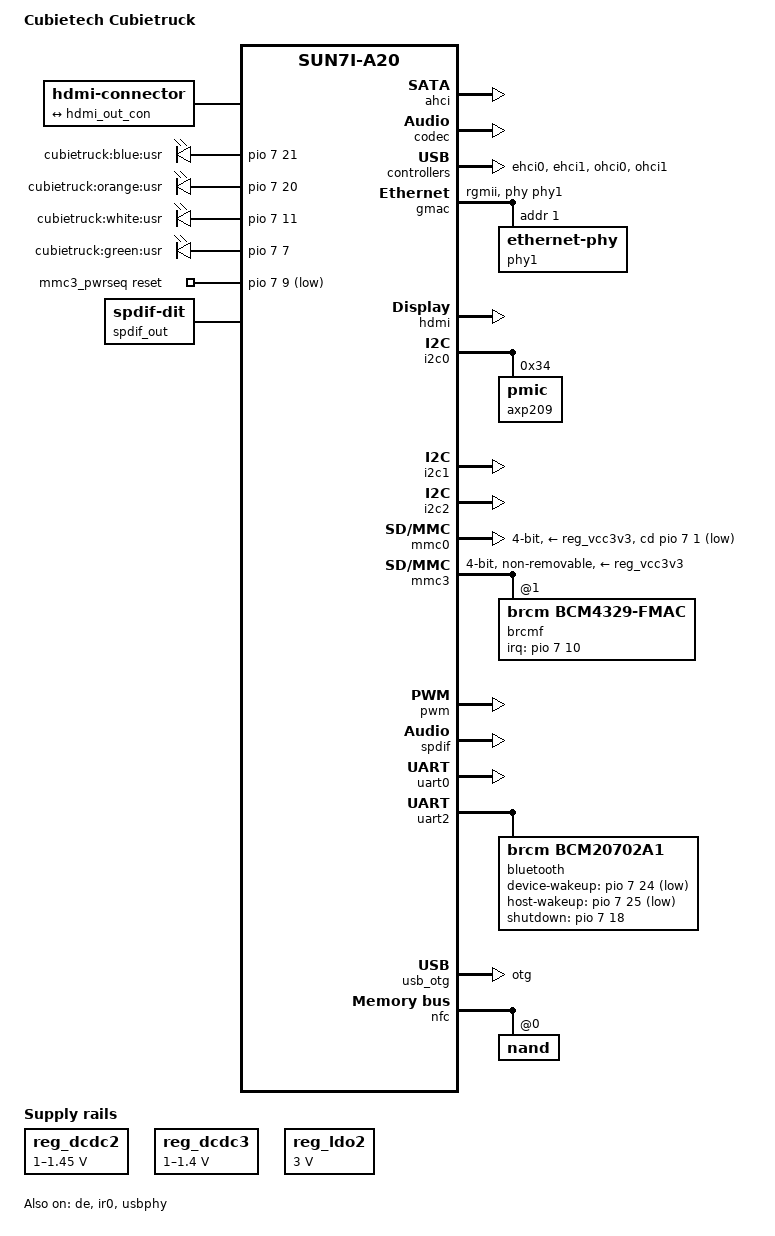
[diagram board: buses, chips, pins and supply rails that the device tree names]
/*
 * Copyright 2013 Oliver Schinagl
 *
 * Oliver Schinagl <oliver@schinagl.nl>
 *
 * This file is dual-licensed: you can use it either under the terms
 * of the GPL or the X11 license, at your option. Note that this dual
 * licensing only applies to this file, and not this project as a
 * whole.
 *
 *  a) This file is free software; you can redistribute it and/or
 *     modify it under the terms of the GNU General Public License as
 *     published by the Free Software Foundation; either version 2 of the
 *     License, or (at your option) any later version.
 *
 *     This file is distributed in the hope that it will be useful,
 *     but WITHOUT ANY WARRANTY; without even the implied warranty of
 *     MERCHANTABILITY or FITNESS FOR A PARTICULAR PURPOSE.  See the
 *     GNU General Public License for more details.
 *
 * Or, alternatively,
 *
 *  b) Permission is hereby granted, free of charge, to any person
 *     obtaining a copy of this software and associated documentation
 *     files (the "Software"), to deal in the Software without
 *     restriction, including without limitation the rights to use,
 *     copy, modify, merge, publish, distribute, sublicense, and/or
 *     sell copies of the Software, and to permit persons to whom the
 *     Software is furnished to do so, subject to the following
 *     conditions:
 *
 *     The above copyright notice and this permission notice shall be
 *     included in all copies or substantial portions of the Software.
 *
 *     THE SOFTWARE IS PROVIDED "AS IS", WITHOUT WARRANTY OF ANY KIND,
 *     EXPRESS OR IMPLIED, INCLUDING BUT NOT LIMITED TO THE WARRANTIES
 *     OF MERCHANTABILITY, FITNESS FOR A PARTICULAR PURPOSE AND
 *     NONINFRINGEMENT. IN NO EVENT SHALL THE AUTHORS OR COPYRIGHT
 *     HOLDERS BE LIABLE FOR ANY CLAIM, DAMAGES OR OTHER LIABILITY,
 *     WHETHER IN AN ACTION OF CONTRACT, TORT OR OTHERWISE, ARISING
 *     FROM, OUT OF OR IN CONNECTION WITH THE SOFTWARE OR THE USE OR
 *     OTHER DEALINGS IN THE SOFTWARE.
 */

/dts-v1/;
#include "sun7i-a20.dtsi"
#include "sunxi-common-regulators.dtsi"

#include <dt-bindings/gpio/gpio.h>
#include <dt-bindings/interrupt-controller/irq.h>

/ {
	model = "Cubietech Cubietruck";
	compatible = "cubietech,cubietruck", "allwinner,sun7i-a20";

	aliases {
		serial0 = &uart0;
	};

	chosen {
		stdout-path = "serial0:115200n8";
	};

	hdmi-connector {
		compatible = "hdmi-connector";
		type = "a";

		port {
			hdmi_con_in: endpoint {
				remote-endpoint = <&hdmi_out_con>;
			};
		};
	};

	leds {
		compatible = "gpio-leds";

		blue {
			label = "cubietruck:blue:usr";
			gpios = <&pio 7 21 GPIO_ACTIVE_HIGH>;
		};

		orange {
			label = "cubietruck:orange:usr";
			gpios = <&pio 7 20 GPIO_ACTIVE_HIGH>;
		};

		white {
			label = "cubietruck:white:usr";
			gpios = <&pio 7 11 GPIO_ACTIVE_HIGH>;
		};

		green {
			label = "cubietruck:green:usr";
			gpios = <&pio 7 7 GPIO_ACTIVE_HIGH>;
		};
	};

	mmc3_pwrseq: mmc3_pwrseq {
		compatible = "mmc-pwrseq-simple";
		reset-gpios = <&pio 7 9 GPIO_ACTIVE_LOW>; /* PH9 WIFI_EN */
		clocks = <&ccu CLK_OUT_A>;
		clock-names = "ext_clock";
	};

	sound {
		compatible = "simple-audio-card";
		simple-audio-card,name = "On-board SPDIF";

		simple-audio-card,cpu {
			sound-dai = <&spdif>;
		};

		simple-audio-card,codec {
			sound-dai = <&spdif_out>;
		};
	};

	spdif_out: spdif-out {
		#sound-dai-cells = <0>;
		compatible = "linux,spdif-dit";
	};
};

&ahci {
	target-supply = <&reg_ahci_5v>;
	status = "okay";
};

&codec {
	status = "okay";
};

&cpu0 {
	cpu-supply = <&reg_dcdc2>;
};

&de {
	status = "okay";
};

&ehci0 {
	status = "okay";
};

&ehci1 {
	status = "okay";
};

&gmac {
	pinctrl-names = "default";
	pinctrl-0 = <&gmac_rgmii_pins>;
	phy = <&phy1>;
	phy-mode = "rgmii";
	status = "okay";

	phy1: ethernet-phy@1 {
		reg = <1>;
	};
};

&hdmi {
	status = "okay";
};

&hdmi_out {
	hdmi_out_con: endpoint {
		remote-endpoint = <&hdmi_con_in>;
	};
};

&i2c0 {
	status = "okay";

	axp209: pmic@34 {
		reg = <0x34>;
		interrupt-parent = <&nmi_intc>;
		interrupts = <0 IRQ_TYPE_LEVEL_LOW>;
	};
};

&i2c1 {
	pinctrl-names = "default";
	status = "okay";
};

&i2c2 {
	status = "okay";
};

&ir0 {
	pinctrl-names = "default";
	pinctrl-0 = <&ir0_rx_pin>;
	status = "okay";
};

&mmc0 {
	vmmc-supply = <&reg_vcc3v3>;
	bus-width = <4>;
	cd-gpios = <&pio 7 1 GPIO_ACTIVE_LOW>; /* PH1 */
	status = "okay";
};

&mmc3 {
	vmmc-supply = <&reg_vcc3v3>;
	mmc-pwrseq = <&mmc3_pwrseq>;
	bus-width = <4>;
	non-removable;
	status = "okay";

	brcmf: wifi@1 {
		reg = <1>;
		compatible = "brcm,bcm4329-fmac";
		interrupt-parent = <&pio>;
		interrupts = <7 10 IRQ_TYPE_LEVEL_LOW>; /* PH10 / EINT10 */
		interrupt-names = "host-wake";
	};
};

&ohci0 {
	status = "okay";
};

&ohci1 {
	status = "okay";
};

&otg_sram {
	status = "okay";
};

&pio {
	/* Pin outputs low power clock for WiFi and BT */
	pinctrl-0 = <&clk_out_a_pin>;
	pinctrl-names = "default";
};

&pwm {
	pinctrl-names = "default";
	pinctrl-0 = <&pwm0_pin>, <&pwm1_pin>;
	status = "okay";
};

&reg_ahci_5v {
	gpio = <&pio 7 12 GPIO_ACTIVE_HIGH>;
	status = "okay";
};

#include "axp209.dtsi"

&ac_power_supply {
	status = "okay";
};

&battery_power_supply {
	status = "okay";
};

&reg_dcdc2 {
	regulator-always-on;
	regulator-min-microvolt = <1000000>;
	regulator-max-microvolt = <1450000>;
	regulator-name = "vdd-cpu";
};

&reg_dcdc3 {
	regulator-always-on;
	regulator-min-microvolt = <1000000>;
	regulator-max-microvolt = <1400000>;
	regulator-name = "vdd-int-dll";
};

&reg_ldo1 {
	regulator-name = "vdd-rtc";
};

&reg_ldo2 {
	regulator-always-on;
	regulator-min-microvolt = <3000000>;
	regulator-max-microvolt = <3000000>;
	regulator-name = "avcc";
};

&reg_usb0_vbus {
	gpio = <&pio 7 17 GPIO_ACTIVE_HIGH>;
	status = "okay";
};

&reg_usb1_vbus {
	status = "okay";
};

&reg_usb2_vbus {
	status = "okay";
};

&spdif {
	pinctrl-names = "default";
	pinctrl-0 = <&spdif_tx_pin>;
	status = "okay";
};

&uart0 {
	pinctrl-names = "default";
	pinctrl-0 = <&uart0_pb_pins>;
	status = "okay";
};

&uart2 {
	pinctrl-names = "default";
	pinctrl-0 = <&uart2_pi_pins>, <&uart2_cts_rts_pi_pins>;
	uart-has-rtscts;
	status = "okay";

	bluetooth {
		compatible = "brcm,bcm20702a1";
		clocks = <&ccu CLK_OUT_A>;
		clock-names = "lpo";
		device-wakeup-gpios = <&pio 7 24 GPIO_ACTIVE_LOW>; /* PH24 */
		host-wakeup-gpios = <&pio 7 25 GPIO_ACTIVE_LOW>; /* PH25 */
		shutdown-gpios = <&pio 7 18 GPIO_ACTIVE_HIGH>; /* PH18 */
		max-speed = <1500000>;
	};
};

&usb_otg {
	dr_mode = "otg";
	status = "okay";
};

&usb_power_supply {
	status = "okay";
};

&usbphy {
	usb0_id_det-gpios = <&pio 7 19 GPIO_ACTIVE_HIGH>; /* PH19 */
	usb0_vbus_det-gpios = <&pio 7 22 GPIO_ACTIVE_HIGH>; /* PH22 */
	usb0_vbus_power-supply = <&usb_power_supply>;
	usb0_vbus-supply = <&reg_usb0_vbus>;
	usb1_vbus-supply = <&reg_usb1_vbus>;
	usb2_vbus-supply = <&reg_usb2_vbus>;
	status = "okay";
};

&nfc {
	pinctrl-names = "default";
	pinctrl-0 = <&nand_pins>, <&nand_pins_cs0>, <&nand_pins_rb0>;
	status = "okay";

	nand@0 {
		#address-cells = <2>;
		#size-cells = <2>;
		reg = <0>;
		allwinner,rb = <0>;
		nand-ecc-mode = "hw";
		nand-ecc-strength = <40>;
		nand-ecc-step-size = <1024>;
		nand-rnd-mode = "hw";
        nand-randomizer-seeds = /bits/ 16 <
			0x2b75 0x0bd0 0x5ca3 0x62d1 0x1c93 0x07e9 0x2162 0x3a72
			0x0d67 0x67f9 0x1be7 0x077d 0x032f 0x0dac 0x2716 0x2436
			0x7922 0x1510 0x3860 0x5287 0x480f 0x4252 0x1789 0x5a2d
			0x2a49 0x5e10 0x437f 0x4b4e 0x2f45 0x216e 0x5cb7 0x7130
			0x2a3f 0x60e4 0x4dc9 0x0ef0 0x0f52 0x1bb9 0x6211 0x7a56
			0x226d 0x4ea7 0x6f36 0x3692 0x38bf 0x0c62 0x05eb 0x4c55
			0x60f4 0x728c 0x3b6f 0x2037 0x7f69 0x0936 0x651a 0x4ceb
			0x6218 0x79f3 0x383f 0x18d9 0x4f05 0x5c82 0x2912 0x6f17
			0x6856 0x5938 0x1007 0x61ab 0x3e7f 0x57c2 0x542f 0x4f62
			0x7454 0x2eac 0x7739 0x42d4 0x2f90 0x435a 0x2e52 0x2064
			0x637c 0x66ad 0x2c90 0x0bad 0x759c 0x0029 0x0986 0x7126
			0x1ca7 0x1605 0x386a 0x27f5 0x1380 0x6d75 0x24c3 0x0f8e
			0x2b7a 0x1418 0x1fd1 0x7dc1 0x2d8e 0x43af 0x2267 0x7da3
			0x4e3d 0x1338 0x50db 0x454d 0x764d 0x40a3 0x42e6 0x262b
			0x2d2e 0x1aea 0x2e17 0x173d 0x3a6e 0x71bf 0x25f9 0x0a5d
			0x7c57 0x0fbe 0x46ce 0x4939 0x6b17 0x37bb 0x3e91 0x76db>;
		onfi,nand-timing-mode = <0x1f>;
		nand-on-flash-bbt;
		spl@0 {
                        label = "spl";
                        reg = /bits/ 64 <0x0 0x200000>;
                        nand-ecc-mode = "hw_syndrome";
                        nand-rnd-mode = "hw";
                };

                spl_bak@200000 {
                        label = "spl_bak";
                        reg = /bits/ 64 <0x200000 0x200000>;
                        nand-ecc-mode = "hw_syndrome";
                        nand-rnd-mode = "hw";
                };

                uboot_env@400000 {
                        label = "uboot_env";
                        reg = /bits/ 64 <0x400000 0x200000>;
                        nand-ecc-mode = "hw";
                        nand-rnd-mode = "hw";
                };

		uboot_bak@600000 {
                        label = "uboot_bak";
                        reg = /bits/ 64 <0x600000 0x200000>;
                        nand-ecc-mode = "hw";
                        nand-rnd-mode = "hw";
                };

                uboot@800000 {
                        label = "uboot";
                        reg = /bits/ 64 <0x800000 0x200000>;
                        nand-ecc-mode = "hw";
                        nand-rnd-mode = "hw";
                };

                dtb@a00000 {
                        label = "dtb";
                        reg = /bits/ 64 <0xa00000 0x200000>;
                        nand-ecc-mode = "hw";
                        nand-rnd-mode = "hw";
                };

                kernel@c00000 {
                        label = "kernel";
                        reg = /bits/ 64 <0xc00000 0x600000>;
                        nand-ecc-mode = "hw";
                        nand-rnd-mode = "hw";
                };

		rootfs@1200000 {
                        label = "rootfs";
                        reg = /bits/ 64 <0x1200000 0xff800000>;
                        nand-ecc-mode = "hw";
                        nand-rnd-mode = "hw";
                };

	};
};
